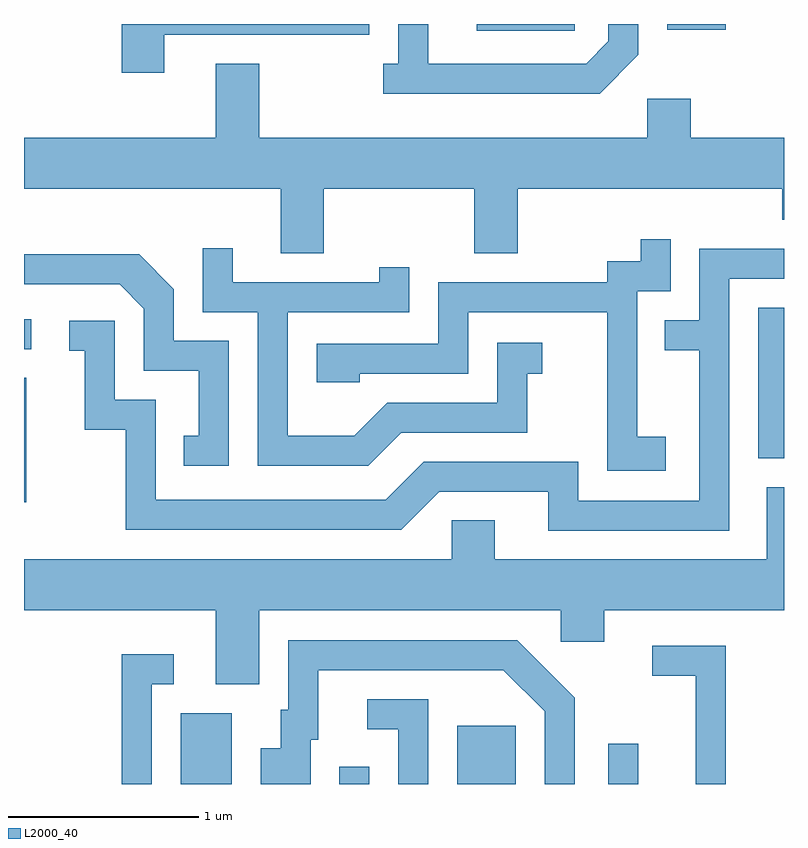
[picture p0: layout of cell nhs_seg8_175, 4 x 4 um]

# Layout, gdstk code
import gdstk
lib = gdstk.Library(unit=1e-6, precision=1e-09)
def R(c, l, rs):  # rectangles x0, y0, x1, y1
    for r in rs: c.add(gdstk.rectangle(r[:2], r[2:], *l))
def P(c, l, *ps):  # polygons
    for p in ps: c.add(gdstk.Polygon(p, *l))
L2000_40 = (2000, 40)

nhs_seg8_175 = lib.new_cell('nhs_seg8_175')
R(nhs_seg8_175, L2000_40, [(190.436,1884.342,190.704,1884.714), (191.271,1884.342,191.429,1884.433), (191.891,1884.342,192.199,1884.649), (192.686,1884.342,192.844,1884.553), (189.611,1885.826,189.624,1886.479), (193.476,1886.056,193.611,1886.849), (189.611,1886.631,189.648,1886.789), (191.993,1888.306,192.509,1888.342), (192.996,1888.311,193.304,1888.342)])
P(nhs_seg8_175, L2000_40, [(192.844,1888.179),(192.844,1888.342),(192.686,1888.342),(192.686,1888.252),(192.569,1888.134),(191.739,1888.134),(191.739,1888.342),(191.581,1888.342),(191.581,1888.134),(191.503,1888.134),(191.503,1887.976),(192.642,1887.976)],
  [(190.349,1888.286),(191.429,1888.286),(191.429,1888.342),(190.126,1888.342),(190.126,1888.086),(190.349,1888.086)],
  [(191.189,1887.476),(191.981,1887.476),(191.981,1887.136),(192.209,1887.136),(192.209,1887.476),(193.601,1887.476),(193.601,1887.311),(193.611,1887.311),(193.611,1887.744),(193.119,1887.744),(193.119,1887.949),(192.891,1887.949),(192.891,1887.744),(190.849,1887.744),(190.849,1888.134),(190.621,1888.134),(190.621,1887.744),(189.611,1887.744),(189.611,1887.476),(190.961,1887.476),(190.961,1887.136),(191.189,1887.136)],
  [(192.989,1886.169),(192.839,1886.169),(192.839,1886.936),(193.014,1886.936),(193.014,1887.208),(192.856,1887.208),(192.856,1887.094),(192.681,1887.094),(192.681,1886.984),(191.791,1886.984),(191.791,1886.659),(191.151,1886.659),(191.151,1886.456),(191.379,1886.456),(191.379,1886.501),(191.949,1886.501),(191.949,1886.826),(192.681,1886.826),(192.681,1885.991),(192.989,1885.991)],
  [(191.597,1886.191),(192.259,1886.191),(192.259,1886.501),(192.338,1886.501),(192.338,1886.664),(192.101,1886.664),(192.101,1886.349),(191.524,1886.349),(191.349,1886.174),(190.999,1886.174),(190.999,1886.826),(191.639,1886.826),(191.639,1887.063),(191.481,1887.063),(191.481,1886.984),(190.709,1886.984),(190.709,1887.163),(190.551,1887.163),(190.551,1886.826),(190.841,1886.826),(190.841,1886.016),(191.422,1886.016)],
  [(193.324,1887.001),(193.611,1887.001),(193.611,1887.159),(193.166,1887.159),(193.166,1886.784),(192.983,1886.784),(192.983,1886.626),(193.166,1886.626),(193.166,1885.834),(192.529,1885.834),(192.529,1886.039),(191.714,1886.039),(191.514,1885.839),(190.304,1885.839),(190.304,1886.364),(190.089,1886.364),(190.089,1886.779),(189.848,1886.779),(189.848,1886.621),(189.931,1886.621),(189.931,1886.206),(190.146,1886.206),(190.146,1885.681),(191.597,1885.681),(191.797,1885.881),(192.371,1885.881),(192.371,1885.676),(193.324,1885.676)],
  [(190.689,1886.674),(190.399,1886.674),(190.399,1886.947),(190.217,1887.129),(189.611,1887.129),(189.611,1886.971),(190.114,1886.971),(190.241,1886.844),(190.241,1886.516),(190.531,1886.516),(190.531,1886.174),(190.453,1886.174),(190.453,1886.016),(190.689,1886.016)],
  [(190.849,1885.256),(192.436,1885.256),(192.436,1885.091),(192.664,1885.091),(192.664,1885.256),(193.611,1885.256),(193.611,1885.904),(193.521,1885.904),(193.521,1885.524),(192.089,1885.524),(192.089,1885.729),(191.861,1885.729),(191.861,1885.524),(189.611,1885.524),(189.611,1885.256),(190.621,1885.256),(190.621,1884.866),(190.849,1884.866)],
  [(191.119,1884.576),(191.159,1884.576),(191.159,1884.941),(192.134,1884.941),(192.351,1884.724),(192.351,1884.342),(192.509,1884.342),(192.509,1884.797),(192.207,1885.099),(191.001,1885.099),(191.001,1884.734),(190.961,1884.734),(190.961,1884.529),(190.856,1884.529),(190.856,1884.342),(191.119,1884.342)],
  [(193.304,1885.069),(192.918,1885.069),(192.918,1884.911),(193.146,1884.911),(193.146,1884.342),(193.304,1884.342)],
  [(190.284,1884.866),(190.398,1884.866),(190.398,1885.024),(190.126,1885.024),(190.126,1884.342),(190.284,1884.342)],
  [(191.739,1884.789),(191.418,1884.789),(191.418,1884.631),(191.581,1884.631),(191.581,1884.342),(191.739,1884.342)])

lib.write_gds('nhs_seg8_175.gds')
